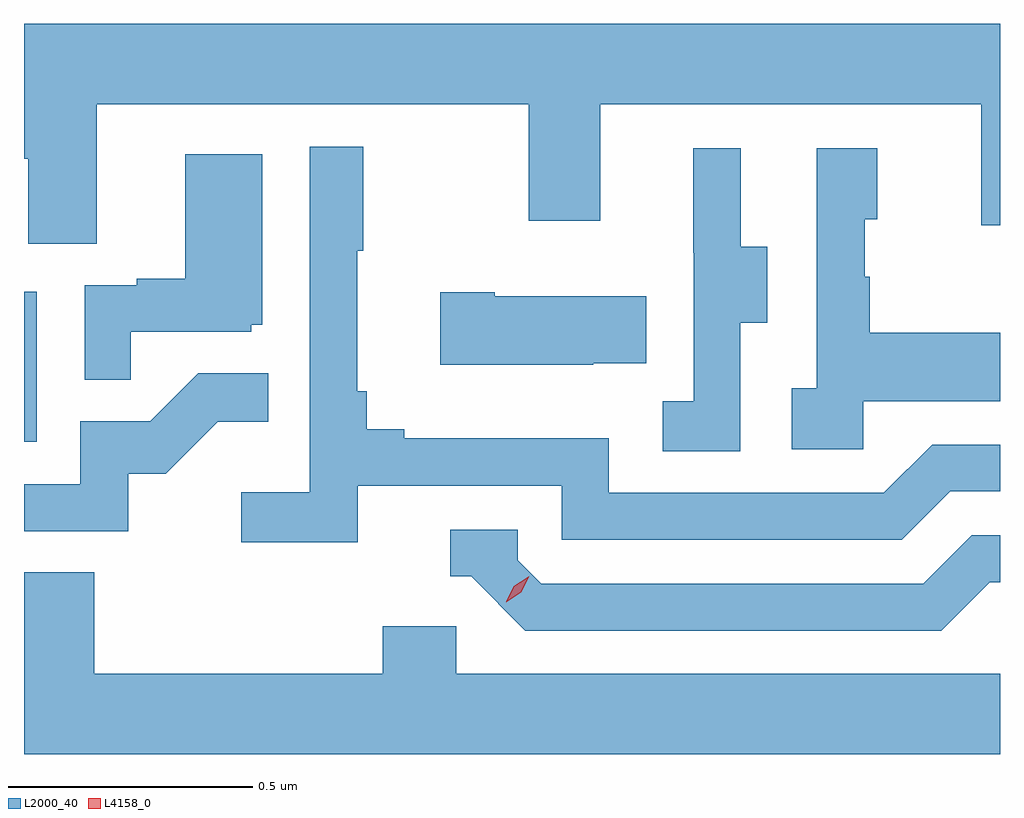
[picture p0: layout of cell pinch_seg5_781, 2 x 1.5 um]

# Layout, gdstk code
import gdstk
lib = gdstk.Library(unit=1e-6, precision=1e-09)
def R(c, l, rs):  # rectangles x0, y0, x1, y1
    for r in rs: c.add(gdstk.rectangle(r[:2], r[2:], *l))
def P(c, l, *ps):  # polygons
    for p in ps: c.add(gdstk.Polygon(p, *l))
L2000_40 = (2000, 40)
L4158_0 = (4158, 0)

pinch_seg5_781 = lib.new_cell('pinch_seg5_781')
R(pinch_seg5_781, L2000_40, [(842.336,906.684,842.362,906.991)])
P(pinch_seg5_781, L2000_40, [(842.336,907.264),(842.345,907.264),(842.345,907.09),(842.485,907.09),(842.485,907.376),(843.37,907.376),(843.37,907.137),(843.517,907.137),(843.517,907.376),(844.298,907.376),(844.298,907.128),(844.336,907.128),(844.336,907.54),(842.336,907.54)],
  [(843.02,906.594),(843.438,906.594),(843.438,906.483),(844.135,906.483),(844.234,906.582),(844.336,906.582),(844.336,906.678),(844.197,906.678),(844.098,906.579),(843.534,906.579),(843.534,906.691),(843.115,906.691),(843.115,906.71),(843.038,906.71),(843.038,906.787),(843.019,906.787),(843.019,907.075),(843.031,907.075),(843.031,907.288),(842.922,907.288),(842.922,906.58),(842.781,906.58),(842.781,906.478),(843.02,906.478)],
  [(844.056,906.767),(844.336,906.767),(844.336,906.907),(844.069,906.907),(844.069,907.022),(844.059,907.022),(844.059,907.14),(844.084,907.14),(844.084,907.285),(843.96,907.285),(843.96,906.794),(843.909,906.794),(843.909,906.669),(844.056,906.669)],
  [(843.804,906.928),(843.859,906.928),(843.859,907.083),(843.805,907.083),(843.805,907.285),(843.707,907.285),(843.707,907.071),(843.708,907.071),(843.708,906.767),(843.645,906.767),(843.645,906.664),(843.804,906.664)],
  [(842.555,906.909),(842.802,906.909),(842.802,906.924),(842.824,906.924),(842.824,907.273),(842.666,907.273),(842.666,907.018),(842.567,907.018),(842.567,907.005),(842.46,907.005),(842.46,906.811),(842.555,906.811)],
  [(843.503,906.845),(843.611,906.845),(843.611,906.982),(843.301,906.982),(843.301,906.99),(843.189,906.99),(843.189,906.842),(843.503,906.842)],
  [(842.55,906.618),(842.626,906.618),(842.733,906.725),(842.837,906.725),(842.837,906.824),(842.693,906.824),(842.595,906.726),(842.451,906.726),(842.451,906.597),(842.336,906.597),(842.336,906.501),(842.55,906.501)],
  [(844.315,906.396),(844.336,906.396),(844.336,906.492),(844.278,906.492),(844.179,906.393),(843.396,906.393),(843.348,906.441),(843.348,906.504),(843.209,906.504),(843.209,906.408),(843.252,906.408),(843.363,906.297),(844.216,906.297)],
  [(844.336,906.208),(843.222,906.208),(843.222,906.306),(843.071,906.306),(843.071,906.208),(842.48,906.208),(842.48,906.416),(842.336,906.416),(842.336,906.044),(844.336,906.044)])
P(pinch_seg5_781, L4158_0, [(843.324,906.355),(843.324,906.356),(843.34,906.388),(843.371,906.408),(843.371,906.408),(843.371,906.408),(843.355,906.375),(843.324,906.355)])

lib.write_gds('pinch_seg5_781.gds')
